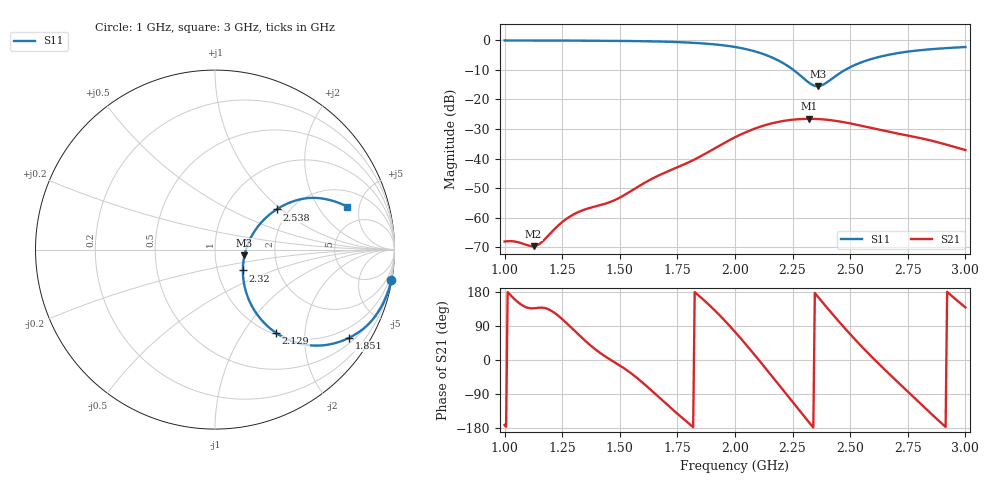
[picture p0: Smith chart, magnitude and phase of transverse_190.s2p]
! TOUCHSTONE file generated by CST MICROWAVE STUDIO
! Date and time: Tue Mar 11 13:57:38 2025
! Project name: transverse.cst
! Parameters = {Fracture=5; B=12.5; D=160; F=5; Feed=2.85625; L=100; M=30; R=0.384908; S=1; Theta=180; length=57.125; wave=114.25}
! Header version: 2024
! Port assignment regex: !\s*Touchstone port\s*([0-9]+)\s*=\s*(CST MWS port|CST DES external port|CST DES block port)\s*(.+)\s* \(\"(.*)\"\)(\s*mode\s*([0-9]+))?.*
! Touchstone port assignment:
! Touchstone port 1 = CST MWS port 1 ("")
! Touchstone port 2 = CST MWS port 2 ("")
# GHz S MA R 50
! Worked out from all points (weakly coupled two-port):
!   304 points, 1 GHz to 3 GHz, reference 50 ohm
!   highest |S21| = -26.56 dB at 2.32 GHz (marker M1); lowest = -69.7 dB at 1.125 GHz (marker M2)
!   lowest |S11| = -15.5 dB at 2.36 GHz (marker M3), VSWR 1.40, Z = 69.5 - j4.51 ohm
!   |S11| at or under -10 dB: 2.253 GHz to 2.478 GHz (224.4 MHz wide, 9.49 % of centre)
!   S12 and S22 are empty: the file has one direction only
!   S11 on the Smith chart (normalised r, x): 1 GHz: 0, -12; 1.851 GHz: 0.66, -3.21; 2.129 GHz: 1.03, -1.43; 2.32 GHz: 1.32, -0.32; 2.538 GHz: 1.73, +0.93; 3 GHz: 3.14, +3.74
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1  0.9976 -9.8  0.0003928 -171.5  0 0.0  0 0.0
1.0462  0.9969 -10.4  0.0003921 158.9  0 0.0  0 0.0
1.12541  0.9956 -11.6  0.000328 136.3  0 0.0  0 0.0
1.15842  0.995 -12.1  0.0003752 138.1  0 0.0  0 0.0
1.26403  0.9921 -13.9  0.0009246 100.1  0 0.0  0 0.0
1.33663  0.9892 -15.2  0.001319 58.1  0 0.0  0 0.0
1.48185  0.9814 -18.6  0.002006 -7.7  0 0.0  0 0.0
1.66667  0.9584 -24.5  0.005119 -96.5  0 0.0  0 0.0
1.85149  0.8938 -33.4  0.01094 165.4  0 0.0  0 0.0
2.0033  0.7696 -44.0  0.02323 72.0  0 0.0  0 0.0
2.06931  0.6789 -49.3  0.0303 25.1  0 0.0  0 0.0
2.12871  0.5763 -53.7  0.03649 -18.9  0 0.0  0 0.0
2.22112  0.3862 -57.0  0.04397 -88.8  0 0.0  0 0.0
2.32013  0.1936 -36.7  0.04701 -163.6  0 0.0  0 0.0
2.33993  0.1737 -24.9  0.04691 -178.4  0 0.0  0 0.0
2.35974  0.1673 -10.9  0.04659 167.0  0 0.0  0 0.0
2.38614  0.1807 6.6  0.04582 147.7  0 0.0  0 0.0
2.44554  0.2632 27.4  0.04292 105.3  0 0.0  0 0.0
2.53795  0.4098 33.1  0.0366 43.2  0 0.0  0 0.0
2.66997  0.5742 29.7  0.02824 -37.1  0 0.0  0 0.0
2.81518  0.6891 23.8  0.0217 -121.0  0 0.0  0 0.0
3  0.7723 18.1  0.01393 138.8  0 0.0  0 0.0
